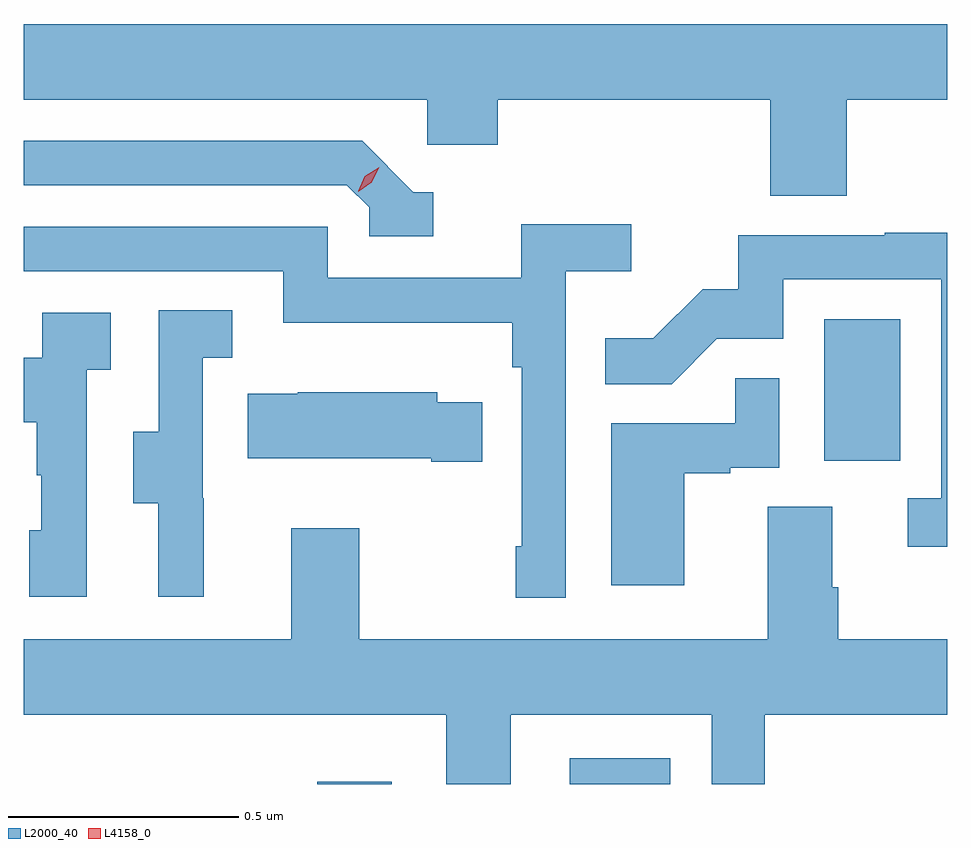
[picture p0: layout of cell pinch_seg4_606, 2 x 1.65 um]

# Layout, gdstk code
import gdstk
lib = gdstk.Library(unit=1e-6, precision=1e-09)
def R(c, l, rs):  # rectangles x0, y0, x1, y1
    for r in rs: c.add(gdstk.rectangle(r[:2], r[2:], *l))
def P(c, l, *ps):  # polygons
    for p in ps: c.add(gdstk.Polygon(p, *l))
L2000_40 = (2000, 40)
L4158_0 = (4158, 0)

pinch_seg4_606 = lib.new_cell('pinch_seg4_606')
R(pinch_seg4_606, L2000_40, [(1050.266,782.018,1050.427,782.023), (1050.813,782.018,1051.03,782.074), (1051.364,782.718,1051.528,783.025)])
P(pinch_seg4_606, L2000_40, [(1051.412,783.5),(1051.63,783.5),(1051.63,783.664),(1049.63,783.664),(1049.63,783.5),(1050.504,783.5),(1050.504,783.402),(1050.656,783.402),(1050.656,783.5),(1051.247,783.5),(1051.247,783.292),(1051.412,783.292)],
  [(1050.517,783.3),(1050.474,783.3),(1050.363,783.411),(1049.63,783.411),(1049.63,783.315),(1050.33,783.315),(1050.378,783.267),(1050.378,783.204),(1050.517,783.204)],
  [(1050.804,783.128),(1050.946,783.128),(1050.946,783.23),(1050.707,783.23),(1050.707,783.114),(1050.288,783.114),(1050.288,783.225),(1049.63,783.225),(1049.63,783.129),(1050.192,783.129),(1050.192,783.017),(1050.688,783.017),(1050.688,782.921),(1050.708,782.921),(1050.708,782.533),(1050.696,782.533),(1050.696,782.421),(1050.804,782.421)],
  [(1051.63,783.212),(1051.495,783.212),(1051.495,783.207),(1051.177,783.207),(1051.177,783.09),(1051.1,783.09),(1050.993,782.983),(1050.889,782.983),(1050.889,782.884),(1051.033,782.884),(1051.131,782.982),(1051.275,782.982),(1051.275,783.111),(1051.617,783.111),(1051.617,782.637),(1051.545,782.637),(1051.545,782.532),(1051.63,782.532)],
  [(1050.02,782.637),(1050.018,782.637),(1050.018,782.941),(1050.082,782.941),(1050.082,783.044),(1049.922,783.044),(1049.922,782.781),(1049.867,782.781),(1049.867,782.626),(1049.921,782.626),(1049.921,782.424),(1050.02,782.424)],
  [(1049.766,782.915),(1049.818,782.915),(1049.818,783.039),(1049.67,783.039),(1049.67,782.941),(1049.63,782.941),(1049.63,782.801),(1049.658,782.801),(1049.658,782.687),(1049.668,782.687),(1049.668,782.568),(1049.642,782.568),(1049.642,782.424),(1049.766,782.424)],
  [(1051.06,782.691),(1051.16,782.691),(1051.16,782.703),(1051.266,782.703),(1051.266,782.897),(1051.171,782.897),(1051.171,782.799),(1050.902,782.799),(1050.902,782.448),(1051.06,782.448)],
  [(1050.623,782.845),(1050.525,782.845),(1050.525,782.866),(1050.223,782.866),(1050.223,782.863),(1050.115,782.863),(1050.115,782.723),(1050.512,782.723),(1050.512,782.716),(1050.623,782.716)],
  [(1050.685,782.168),(1051.12,782.168),(1051.12,782.018),(1051.235,782.018),(1051.235,782.168),(1051.63,782.168),(1051.63,782.332),(1051.394,782.332),(1051.394,782.444),(1051.381,782.444),(1051.381,782.618),(1051.241,782.618),(1051.241,782.332),(1050.357,782.332),(1050.357,782.572),(1050.209,782.572),(1050.209,782.332),(1049.63,782.332),(1049.63,782.168),(1050.545,782.168),(1050.545,782.018),(1050.685,782.018)])
P(pinch_seg4_606, L4158_0, [(1050.354,783.301),(1050.354,783.302),(1050.369,783.334),(1050.4,783.354),(1050.4,783.354),(1050.4,783.354),(1050.384,783.321),(1050.354,783.301)])

lib.write_gds('pinch_seg4_606.gds')
